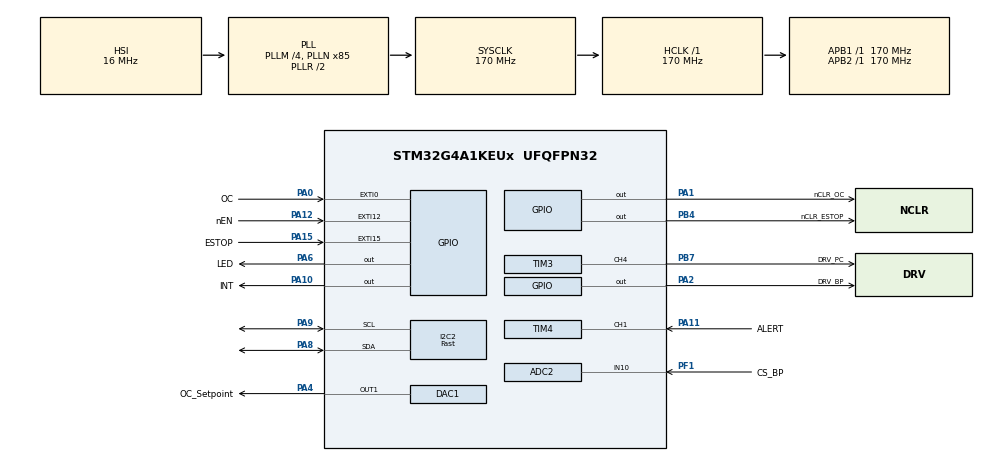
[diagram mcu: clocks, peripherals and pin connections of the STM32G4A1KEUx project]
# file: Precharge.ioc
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ADC2.Channel-0\#ChannelRegularConversion=ADC_CHANNEL_10
ADC2.ContinuousConvMode=ENABLE
ADC2.DMAContinuousRequests=ENABLE
ADC2.NbrOfConversionFlag=1
ADC2.OffsetNumber-0\#ChannelRegularConversion=ADC_OFFSET_NONE
ADC2.Overrun=ADC_OVR_DATA_OVERWRITTEN
ADC2.OversamplingMode=ENABLE
ADC2.Rank-0\#ChannelRegularConversion=1
ADC2.Ratio=ADC_OVERSAMPLING_RATIO_64
ADC2.RightBitShift=ADC_RIGHTBITSHIFT_2
ADC2.SamplingTime-0\#ChannelRegularConversion=ADC_SAMPLETIME_2CYCLES_5
ADC3.Channel-0\#ChannelRegularConversion=ADC_CHANNEL_VREFINT
ADC3.ContinuousConvMode=ENABLE
ADC3.NbrOfConversionFlag=1
ADC3.OffsetNumber-0\#ChannelRegularConversion=ADC_OFFSET_NONE
ADC3.OversamplingMode=ENABLE
ADC3.Rank-0\#ChannelRegularConversion=1
ADC3.Ratio=ADC_OVERSAMPLING_RATIO_64
ADC3.RightBitShift=ADC_RIGHTBITSHIFT_2
ADC3.SamplingTime-0\#ChannelRegularConversion=ADC_SAMPLETIME_2CYCLES_5
ADC3.master=1
Dma.ADC2.0.Direction=DMA_PERIPH_TO_MEMORY
Dma.ADC2.0.EventEnable=DISABLE
Dma.ADC2.0.Instance=DMA1_Channel2
Dma.ADC2.0.MemDataAlignment=DMA_MDATAALIGN_WORD
Dma.ADC2.0.MemInc=DMA_MINC_ENABLE
Dma.ADC2.0.Mode=DMA_CIRCULAR
Dma.ADC2.0.PeriphDataAlignment=DMA_PDATAALIGN_WORD
Dma.ADC2.0.PeriphInc=DMA_PINC_DISABLE
Dma.ADC2.0.Polarity=HAL_DMAMUX_REQ_GEN_RISING
Dma.ADC2.0.Priority=DMA_PRIORITY_LOW
Dma.ADC2.0.RequestNumber=1
Dma.ADC2.0.SignalID=NONE
Dma.ADC2.0.SyncEnable=DISABLE
Dma.ADC2.0.SyncPolarity=HAL_DMAMUX_SYNC_NO_EVENT
Dma.ADC2.0.SyncRequestNumber=1
Dma.ADC2.0.SyncSignalID=NONE
Dma.ADC3.1.Direction=DMA_PERIPH_TO_MEMORY
Dma.ADC3.1.EventEnable=DISABLE
Dma.ADC3.1.Instance=DMA1_Channel4
Dma.ADC3.1.MemDataAlignment=DMA_MDATAALIGN_HALFWORD
Dma.ADC3.1.MemInc=DMA_MINC_ENABLE
Dma.ADC3.1.Mode=DMA_CIRCULAR
Dma.ADC3.1.PeriphDataAlignment=DMA_PDATAALIGN_HALFWORD
Dma.ADC3.1.PeriphInc=DMA_PINC_DISABLE
Dma.ADC3.1.Polarity=HAL_DMAMUX_REQ_GEN_RISING
Dma.ADC3.1.Priority=DMA_PRIORITY_LOW
Dma.ADC3.1.RequestNumber=1
Dma.ADC3.1.SignalID=NONE
Dma.ADC3.1.SyncEnable=DISABLE
Dma.ADC3.1.SyncPolarity=HAL_DMAMUX_SYNC_NO_EVENT
Dma.ADC3.1.SyncRequestNumber=1
Dma.ADC3.1.SyncSignalID=NONE
Dma.I2C2_RX.2.Direction=DMA_PERIPH_TO_MEMORY
Dma.I2C2_RX.2.EventEnable=DISABLE
Dma.I2C2_RX.2.Instance=DMA1_Channel1
Dma.I2C2_RX.2.MemDataAlignment=DMA_MDATAALIGN_BYTE
Dma.I2C2_RX.2.MemInc=DMA_MINC_ENABLE
Dma.I2C2_RX.2.Mode=DMA_NORMAL
Dma.I2C2_RX.2.PeriphDataAlignment=DMA_PDATAALIGN_BYTE
Dma.I2C2_RX.2.PeriphInc=DMA_PINC_DISABLE
Dma.I2C2_RX.2.Polarity=HAL_DMAMUX_REQ_GEN_RISING
Dma.I2C2_RX.2.Priority=DMA_PRIORITY_LOW
Dma.I2C2_RX.2.RequestNumber=1
Dma.I2C2_RX.2.SignalID=NONE
Dma.I2C2_RX.2.SyncEnable=DISABLE
Dma.I2C2_RX.2.SyncPolarity=HAL_DMAMUX_SYNC_NO_EVENT
Dma.I2C2_RX.2.SyncRequestNumber=1
Dma.I2C2_RX.2.SyncSignalID=NONE
Dma.I2C2_TX.3.Direction=DMA_MEMORY_TO_PERIPH
Dma.I2C2_TX.3.EventEnable=DISABLE
Dma.I2C2_TX.3.Instance=DMA1_Channel3
Dma.I2C2_TX.3.MemDataAlignment=DMA_MDATAALIGN_BYTE
Dma.I2C2_TX.3.MemInc=DMA_MINC_ENABLE
Dma.I2C2_TX.3.Mode=DMA_NORMAL
Dma.I2C2_TX.3.PeriphDataAlignment=DMA_PDATAALIGN_BYTE
Dma.I2C2_TX.3.PeriphInc=DMA_PINC_DISABLE
Dma.I2C2_TX.3.Polarity=HAL_DMAMUX_REQ_GEN_RISING
Dma.I2C2_TX.3.Priority=DMA_PRIORITY_LOW
Dma.I2C2_TX.3.RequestNumber=1
Dma.I2C2_TX.3.SignalID=NONE
Dma.I2C2_TX.3.SyncEnable=DISABLE
Dma.I2C2_TX.3.SyncPolarity=HAL_DMAMUX_SYNC_NO_EVENT
Dma.I2C2_TX.3.SyncRequestNumber=1
Dma.I2C2_TX.3.SyncSignalID=NONE
Dma.Request0=ADC2
Dma.Request1=ADC3
Dma.Request2=I2C2_RX
Dma.Request3=I2C2_TX
I2C2.I2C_Speed_Mode=I2C_Fast
I2C2.OwnAddress=15
I2C2.Timing=0x40621236
Mcu.Family=STM32G4
Mcu.Name=STM32G4A1KEUx
Mcu.Package=UFQFPN32
NVIC.DMA1_Channel1_IRQn=true\:2\:0\:true\:false\:true\:true\:true\:true
NVIC.DMA1_Channel3_IRQn=true\:2\:0\:true\:false\:true\:true\:true\:true
NVIC.EXTI0_IRQn=true\:0\:0\:true\:false\:true\:true\:true\:true
NVIC.EXTI15_10_IRQn=true\:0\:0\:false\:false\:true\:true\:true\:true
NVIC.I2C2_EV_IRQn=true\:2\:0\:true\:false\:true\:true\:true\:true
NVIC.PriorityGroup=NVIC_PRIORITYGROUP_4
NVIC.TIM1_UP_TIM16_IRQn=true\:3\:0\:true\:false\:true\:true\:true\:true
PA0.GPIO_Label=OC
PA0.Signal=GPXTI0
PA1.GPIO_Label=nCLR_OC
PA1.PinState=GPIO_PIN_SET
PA1.Signal=GPIO_Output
PA10.GPIO_Label=INT
PA10.PinState=GPIO_PIN_RESET
PA10.Signal=GPIO_Output
PA11.GPIO_Label=ALERT
PA11.Signal=S_TIM4_CH1
PA12.GPIO_Label=nEN
PA12.Signal=GPXTI12
PA13.Mode=Trace_Asynchronous_SW
PA13.Signal=SYS_JTMS-SWDIO
PA14.Mode=Trace_Asynchronous_SW
PA14.Signal=SYS_JTCK-SWCLK
PA15.GPIO_Label=ESTOP
PA15.Signal=GPXTI15
PA2.GPIO_Label=DRV_BP
PA2.Signal=GPIO_Output
PA4.GPIO_Label=OC_Setpoint
PA4.Signal=COMP_DAC11_group
PA6.GPIO_Label=LED
PA6.Signal=GPIO_Output
PA8.Mode=I2C
PA8.Signal=I2C2_SDA
PA9.Mode=I2C
PA9.Signal=I2C2_SCL
PB3.Mode=Trace_Asynchronous_SW
PB3.Signal=SYS_JTDO-SWO
PB4.GPIO_Label=nCLR_ESTOP
PB4.PinState=GPIO_PIN_SET
PB4.Signal=GPIO_Output
PB7.GPIO_Label=DRV_PC
PB7.Signal=S_TIM3_CH4
PF1-OSC_OUT.GPIO_Label=CS_BP
PF1-OSC_OUT.Mode=IN10-Single-Ended
PF1-OSC_OUT.Signal=ADC2_IN10
ProjectManager.HeapSize=0x200
ProjectManager.StackSize=0x400
ProjectManager.TargetToolchain=CMake
RCC.ADC12Freq_Value=170000000
RCC.ADC345Freq_Value=170000000
RCC.AHBFreq_Value=170000000
RCC.APB1Freq_Value=170000000
RCC.APB1TimFreq_Value=170000000
RCC.APB2Freq_Value=170000000
RCC.APB2TimFreq_Value=170000000
RCC.CortexFreq_Value=170000000
RCC.EXTERNAL_CLOCK_VALUE=12288000
RCC.HCLKFreq_Value=170000000
RCC.HSE_VALUE=8000000
RCC.HSI48_VALUE=48000000
RCC.HSI_VALUE=16000000
RCC.LSE_VALUE=32768
RCC.PLLM=RCC_PLLM_DIV4
RCC.PLLN=85
RCC.SYSCLKFreq_VALUE=170000000
RCC.SYSCLKSource=RCC_SYSCLKSOURCE_PLLCLK
RCC.VCOOutputFreq_Value=340000000
SH.COMP_DAC11_group.0=DAC1_OUT1,DAC_OUT1
SH.S_TIM3_CH4.0=TIM3_CH4,PWM Generation4 CH4
SH.S_TIM4_CH1.0=TIM4_CH1,PWM_Input_1
TIM1.PeriodNoDither=10-1
TIM1.Prescaler=170-1
TIM3.AutoReloadPreload=TIM_AUTORELOAD_PRELOAD_ENABLE
TIM3.Channel-PWM\ Generation4\ CH4=TIM_CHANNEL_4
TIM3.PeriodNoDither=170-1
VP_ADC3_Vref_Input.Mode=IN-Vrefint
VP_CRC_VS_CRC.Mode=CRC_Activate
VP_SYS_VS_DBSignals.Mode=DisableDeadBatterySignals
VP_TIM1_VS_ClockSourceINT.Mode=Internal
board=custom

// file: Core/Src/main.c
/* USER CODE BEGIN Header */
/**
  ******************************************************************************
  * @file           : main.c
  * @brief          : Main program body
  ******************************************************************************
  * @attention
  *
  * Copyright (c) 2025 STMicroelectronics.
  * All rights reserved.
  *
  * This software is licensed under terms that can be found in the LICENSE file
  * in the root directory of this software component.
  * If no LICENSE file comes with this software, it is provided AS-IS.
  *
  ******************************************************************************
  */
/* USER CODE END Header */
#include "main.h"
#include "adc.h"
#include "crc.h"
#include "dac.h"
#include "dma.h"
#include "i2c.h"
#include "tim.h"
#include "gpio.h"

/* USER CODE BEGIN Includes */
#include "CurrentSense.h"
#include "PID.h"
#include "swo.h"
#include <string.h>
#include "comm.h"

/* USER CODE END Includes */

/* USER CODE BEGIN PV */
uint8_t initialized = 0;
/* USER CODE END PV */

void SystemClock_Config(void);

int main(void)
{

  /* MCU Configuration--------------------------------------------------------*/

  /* Reset of all peripherals, Initializes the Flash interface and the Systick. */
  HAL_Init();

  /* Configure the system clock */
  SystemClock_Config();

  /* Initialize all configured peripherals */
  MX_GPIO_Init();
  MX_DMA_Init();
  MX_ADC2_Init();
  MX_TIM1_Init();
  MX_TIM3_Init();
  MX_DAC1_Init();
  MX_ADC3_Init();
  MX_I2C2_Init();
  MX_TIM4_Init();
  MX_CRC_Init();

  /* Infinite loop */
  /* USER CODE BEGIN WHILE */
  HAL_GPIO_WritePin(INT_GPIO_Port, INT_Pin, GPIO_PIN_RESET);
  SWD_Init();
  HAL_StatusTypeDef error = HAL_OK;
  error |= cs_init();
  error |= controller_init();
  error |= comm_init();

  if(error != HAL_OK)
  {
    commHandler.outputMemMap.output_registers.init_failed = 1;
    // Indicate Init Complete
    HAL_GPIO_WritePin(INT_GPIO_Port, INT_Pin, GPIO_PIN_SET);
    while(1)__NOP(); //TODO: Improve this...
  }else commHandler.outputMemMap.output_registers.ready = 1;

  // Indicate Init Complete
  initialized = 1;

  HAL_GPIO_WritePin(INT_GPIO_Port, INT_Pin, GPIO_PIN_SET);
  // HAL_GPIO_WritePin(LED_GPIO_Port, LED_Pin, GPIO_PIN_SET);

  while (1)
  {

    // Check for Start/Stop Condition
    if((commHandler.outputMemMap.raw_output_data[0] & PC_FLT_MASK) == 0
    && (HAL_GPIO_ReadPin(nEN_GPIO_Port, nEN_Pin) == GPIO_PIN_RESET))
    {
      controller_start();
      // HAL_GPIO_WritePin(DRV_BP_GPIO_Port, DRV_BP_Pin, GPIO_PIN_SET);
      // HAL_GPIO_WritePin(LED_GPIO_Port, LED_Pin, GPIO_PIN_SET);
    }

    volatile uint8_t en = HAL_GPIO_ReadPin(nEN_GPIO_Port, nEN_Pin);
    volatile uint8_t estop = HAL_GPIO_ReadPin(ESTOP_GPIO_Port, ESTOP_Pin);
    volatile uint8_t oc = HAL_GPIO_ReadPin(OC_GPIO_Port, OC_Pin);

    // //DEBUG SWO OUTPUT
    // float current_bp = TIM3->CCR4 / 169.0f;
    // memcpy(&(ITM->PORT[1].u8), &bypass, sizeof(bypass));
    // float current = cs_get_current();
    // memcpy(&(ITM->PORT[0].u32), &current, sizeof(current));
    // ITM->PORT[1].u8 = commHandler.outputMemMap.output_registers.precharging;
    // for(int i = 0; i < 5000; i++);

    /* USER CODE END WHILE */

  }
}

void SystemClock_Config(void)
{
  RCC_OscInitTypeDef RCC_OscInitStruct = {0};
  RCC_ClkInitTypeDef RCC_ClkInitStruct = {0};

  /** Configure the main internal regulator output voltage
  */
  HAL_PWREx_ControlVoltageScaling(PWR_REGULATOR_VOLTAGE_SCALE1_BOOST);

  /** Initializes the RCC Oscillators according to the specified parameters
  * in the RCC_OscInitTypeDef structure.
  */
  RCC_OscInitStruct.OscillatorType = RCC_OSCILLATORTYPE_HSI;
  RCC_OscInitStruct.HSIState = RCC_HSI_ON;
  RCC_OscInitStruct.HSICalibrationValue = RCC_HSICALIBRATION_DEFAULT;
  RCC_OscInitStruct.PLL.PLLState = RCC_PLL_ON;
  RCC_OscInitStruct.PLL.PLLSource = RCC_PLLSOURCE_HSI;
  RCC_OscInitStruct.PLL.PLLM = RCC_PLLM_DIV4;
  RCC_OscInitStruct.PLL.PLLN = 85;
  RCC_OscInitStruct.PLL.PLLP = RCC_PLLP_DIV2;
  RCC_OscInitStruct.PLL.PLLQ = RCC_PLLQ_DIV2;
  RCC_OscInitStruct.PLL.PLLR = RCC_PLLR_DIV2;
  if (HAL_RCC_OscConfig(&RCC_OscInitStruct) != HAL_OK)
  {
    Error_Handler();
  }

  /** Initializes the CPU, AHB and APB buses clocks
  */
  RCC_ClkInitStruct.ClockType = RCC_CLOCKTYPE_HCLK|RCC_CLOCKTYPE_SYSCLK
                              |RCC_CLOCKTYPE_PCLK1|RCC_CLOCKTYPE_PCLK2;
  RCC_ClkInitStruct.SYSCLKSource = RCC_SYSCLKSOURCE_PLLCLK;
  RCC_ClkInitStruct.AHBCLKDivider = RCC_SYSCLK_DIV1;
  RCC_ClkInitStruct.APB1CLKDivider = RCC_HCLK_DIV1;
  RCC_ClkInitStruct.APB2CLKDivider = RCC_HCLK_DIV1;

  if (HAL_RCC_ClockConfig(&RCC_ClkInitStruct, FLASH_LATENCY_4) != HAL_OK)
  {
    Error_Handler();
  }
}

/* USER CODE BEGIN 4 */
void HAL_TIM_PeriodElapsedCallback(TIM_HandleTypeDef *htim){
  if(htim->Instance == TIM1)
  {
    controller_run();
  }
}

void HAL_GPIO_EXTI_Callback(uint16_t GPIO_Pin)
{
  if(initialized == 1)
  {
    switch(GPIO_Pin)
    {
      case OC_Pin:
        controller_stop();
        commHandler.outputMemMap.output_registers.hw_oc_fault = 1;
        HAL_GPIO_WritePin(INT_GPIO_Port, INT_Pin, GPIO_PIN_SET);
        break;

      case ESTOP_Pin:
        controller_stop();
        commHandler.outputMemMap.output_registers.estop = 1;
        HAL_GPIO_WritePin(INT_GPIO_Port, INT_Pin, GPIO_PIN_SET);
        break;
      case nEN_Pin:
        controller_stop();
        HAL_GPIO_WritePin(INT_GPIO_Port, INT_Pin, GPIO_PIN_SET);
        break;
      default:
        break;
    }

  }
}
/* USER CODE END 4 */

void Error_Handler(void)
{
  __disable_irq();
  while (1)
  {
  }
}
